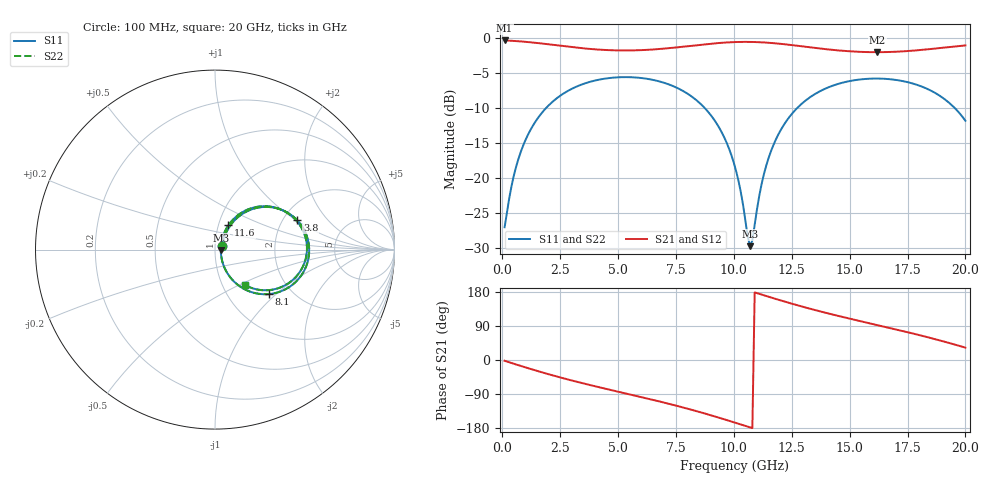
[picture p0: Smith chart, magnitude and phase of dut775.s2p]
! Touchstone file exported from HFSS 2026.1.0
!  File:  C:/ffzhzh/LocalFiles/Ansys_Project_Files/temp_train_TSV_RDL_775_1783209929_22436.aedt
!  Generated:  08:18:00 AM Jul  5, 2026
!  Design:  TSV_RDL
!  Project:  temp_train_TSV_RDL_775_1783209929_22436
! Variables:
!  h_bsmrdl = 2.31um
!  h_ox = 20um
!  h_rdl = 5um
!  h_sub = 72.32um
!  h_tmrdl = 3.72um
!  h_tsv = 72.32um
!  h_via = 3um
!  l_bsmrdl = 431.02um
!  l_sub = 5557.12um
!  l_tmrdl = 945.33um
!  m_sub = 200um
!  pitch = 37.62um
!  r_tsv = 10um
!  s_tmrdl = 10um
!  w_bsmrdl = 10.74um
!  w_sub = 500um
!  w_tmrdl = 16.84um
!  x_tsv_center1 = 953.75um
!  x_tsv_center2 = 1395.51um
!  x_tsv_center3 = 2357.68um
!  x_tsv_center4 = 2799.44um
!  x_tsv_center5 = 3761.61um
!  x_tsv_center6 = 4203.37um
# GHz S MA R 50.000000
! Terminal data exported
! Port[1] = TM_RDL1_1_T1
! Port[2] = TM_RDL5_1_T1
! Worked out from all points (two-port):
!   200 points, 100 MHz to 20 GHz, reference 50 ohm
!   highest |S21| = -0.35 dB at 100 MHz (marker M1); lowest = -2.0 dB at 16.2 GHz (marker M2)
!   |S21| within 3 dB of the highest: start of sweep to end of sweep
!   lowest |S11| = -29.8 dB at 10.7 GHz (marker M3), VSWR 1.07, Z = 53.3 - j0.267 ohm
!   |S11| at or under -10 dB: start of sweep to 1.898 GHz; 8.735 GHz to 12.74 GHz (4.008 GHz wide, 37.3 % of centre); 19.53 GHz to end of sweep
!   |S22| runs from -29.8 to -5.6 dB; largest |S21 - S12| = 1.6e-14
!   S11 on the Smith chart (normalised r, x): 100 MHz: 1.08, +0.04; 3.8 GHz: 2.38, +1.02; 8.1 GHz: 1.54, -0.90; 11.6 GHz: 1.12, +0.31; 20 GHz: 1.27, -0.53
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0.1  0.04421 24.8  0.9604 -2.0  0.9604 -2.0  0.04421 24.8
! Gamma 0 0 0 0
! Port Impedance 50 0 50 0
0.6  0.1203 57.1  0.9505 -11.9  0.9505 -11.9  0.1203 57.1
1.2  0.2172 55.0  0.9325 -23.2  0.9325 -23.2  0.2172 55.0
2.2  0.3532 42.1  0.8927 -41.0  0.8927 -41.0  0.3532 42.1
3.5  0.4692 23.7  0.8433 -61.8  0.8433 -61.8  0.4692 23.7
3.8  0.4864 19.6  0.8346 -66.3  0.8346 -66.3  0.4864 19.6
5.3  0.5249 -0.5  0.8143 -87.9  0.8143 -87.9  0.5249 -0.5
6.8  0.4881 -20.8  0.8344 -109.6  0.8344 -109.6  0.4881 -20.8
8.1  0.3896 -39.5  0.8771 -130.1  0.8771 -130.1  0.3895 -39.5
9.3  0.238 -56.8  0.9193 -151.2  0.9193 -151.2  0.238 -56.8
10.1  0.1114 -62.2  0.9359 -166.2  0.9359 -166.2  0.1113 -62.3
10.7  0.03237 -4.4  0.9376 -177.8  0.9376 -177.8  0.03233 -4.4
10.8  0.03565 23.0  0.9369 -179.7  0.9369 -179.7  0.03563 23.1
11.2  0.09025 59.6  0.9314 172.6  0.9314 172.6  0.09028 59.6
11.6  0.1543 61.2  0.9218 165.0  0.9218 165.0  0.1543 61.2
12.4  0.2723 52.4  0.894 150.4  0.894 150.4  0.2723 52.4
13.4  0.3875 38.3  0.8532 133.5  0.8532 133.5  0.3875 38.3
14.9  0.4879 17.6  0.8054 110.6  0.8054 110.6  0.4879 17.6
16.2  0.5126 0.6  0.7916 92.1  0.7916 92.1  0.5126 0.6
16.7  0.5078 -5.9  0.794 85.0  0.794 85.0  0.5078 -5.9
18.5  0.421 -30.0  0.8341 58.1  0.8341 58.1  0.4209 -30.1
20  0.2558 -49.9  0.8849 32.6  0.8849 32.6  0.2557 -50.0
